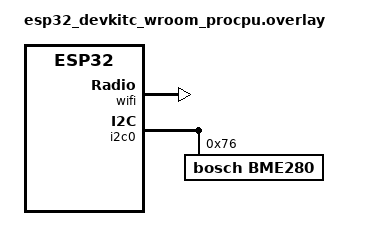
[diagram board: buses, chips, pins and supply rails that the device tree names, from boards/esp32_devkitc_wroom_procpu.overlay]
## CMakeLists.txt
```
# SPDX-License-Identifier: Apache-2.0

cmake_minimum_required(VERSION 3.20.0)

find_package(Zephyr REQUIRED HINTS $ENV{ZEPHYR_BASE})
project(waterlevel_sensing)

FILE(GLOB app_sources src/*.c)
target_sources(app PRIVATE ${app_sources})
```

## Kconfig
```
# Config options for mqtt_publisher sample application

# Copyright (c) 2020 Intel Corporation
# SPDX-License-Identifier: Apache-2.0

mainmenu "Networking mqtt_publisher sample application"

config NET_SAMPLE_APP_MAX_ITERATIONS
	int "Number of times to Publish sample MQTT messages"
	default 500
	help
	  Send sample MQTT messages this many times in a MQTT connection
	  before exiting. A value of zero means that the messages are sent
	  forever.

config NET_SAMPLE_APP_MAX_CONNECTIONS
	int "Number of times to connect to the MQTT server"
	default 0
	help
	  Number of times to connect to the MQTT server. With each connection
	  send NET_SAMPLE_APP_MAX_ITERATIONS amount of MQTT sample messages.
	  A value of zero means to continue forever.

config LOG
	default n

config LOG_PRINTK
	default n

config SENSOR_LOG_LEVEL
	default 4

# Enable SPI and I2C support by default so that the sample works with
# the device connected either way. These defaults can be overridden if
# needed.
config SPI
	default y

config I2C
	default y

source "Kconfig.zephyr"
```

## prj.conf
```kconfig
# Wi-Fi Configuration
CONFIG_WIFI=y

# Network Configuration
CONFIG_NET_CONFIG_AUTO_INIT=n
CONFIG_NET_CONNECTION_MANAGER=y
CONFIG_NET_DHCPV4=y
CONFIG_NET_DHCPV4_SERVER=y
CONFIG_NET_IF_MAX_IPV4_COUNT=2
CONFIG_NET_IF_MAX_IPV6_COUNT=2
CONFIG_NET_IPV4=y
CONFIG_NET_L2_ETHERNET=y
CONFIG_NET_L2_WIFI_MGMT=y
CONFIG_NET_MGMT=y
CONFIG_NET_MGMT_EVENT=y
CONFIG_NET_MGMT_EVENT_INFO=y
CONFIG_NET_MGMT_EVENT_QUEUE_SIZE=10
CONFIG_NET_MGMT_EVENT_STACK_SIZE=4096
CONFIG_NET_PKT_RX_COUNT=16
CONFIG_NET_PKT_TX_COUNT=16
CONFIG_NET_SOCKETS_SERVICE_STACK_SIZE=4096
CONFIG_NET_TCP=y
CONFIG_NET_UDP=y
CONFIG_NETWORKING=y

# LOG Configuration
CONFIG_NET_LOG=y
CONFIG_NET_DHCPV4_SERVER_LOG_LEVEL_DBG=y


CONFIG_NETWORKING=y
CONFIG_NET_SOCKETS=y
CONFIG_NET_TCP=y
CONFIG_NET_LOG=y

# CONFIG_NET_IPV6_RA_RDNSS=y
# CONFIG_NET_IF_UNICAST_IPV6_ADDR_COUNT=3
# CONFIG_NET_IF_MCAST_IPV6_ADDR_COUNT=2

CONFIG_PRINTK=y
CONFIG_STDOUT_CONSOLE=y
CONFIG_POSIX_API=y

# Enable IPv6 support
CONFIG_NET_IPV6=n
# Enable IPv4 support
CONFIG_NET_IPV4=y

# Enable the MQTT Lib
CONFIG_MQTT_LIB=y

CONFIG_NET_CONFIG_SETTINGS=y
# CONFIG_NET_CONFIG_MY_IPV6_ADDR="2001:db8::1"
# CONFIG_NET_CONFIG_PEER_IPV6_ADDR="2003:c4:f4a:a500:28f9:73:76ea:19c8"

#CONFIG_NET_CONFIG_MY_IPV4_ADDR="192.168.178.98"
CONFIG_NET_CONFIG_PEER_IPV4_ADDR="85.215.54.37"
CONFIG_NET_CONFIG_MY_IPV4_GW="192.168.178.1"

CONFIG_NET_ARP=y
CONFIG_NET_UDP=y
CONFIG_NET_DHCPV4=y
CONFIG_NET_DHCPV4_OPTION_CALLBACKS=y
CONFIG_DNS_RESOLVER=y

CONFIG_WIFI_ESP32=y
CONFIG_ESP32_WIFI_STA_AUTO_DHCPV4=y

CONFIG_MAIN_STACK_SIZE=2048

# For IPv6
CONFIG_NET_BUF_DATA_SIZE=256

CONFIG_NET_SHELL=y

CONFIG_WIFI_LOG_LEVEL_ERR=y
CONFIG_NET_L2_WIFI_SHELL=y

CONFIG_NET_STATISTICS=y
CONFIG_ENTROPY_GENERATOR=y
CONFIG_TEST_RANDOM_GENERATOR=y


# BMP SENSOR
CONFIG_SENSOR=y
CONFIG_SENSOR_ASYNC_API=y
```

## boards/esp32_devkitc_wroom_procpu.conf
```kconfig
# CONFIG_SPI=y
# CONFIG_NET_L2_ETHERNET=y
# CONFIG_ETH_W5500=y
# CONFIG_ETH_W5500_TIMEOUT=1000
CONFIG_NET_MGMT=y
CONFIG_NET_L2_ETHERNET_MGMT=y

CONFIG_ADC=y
CONFIG_SENSOR=y
CONFIG_I2C=y
CONFIG_ADC_ADS1X1X=y
```

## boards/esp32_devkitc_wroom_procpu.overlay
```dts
// / {
// 	zephyr,user {
// 		io-channels = <&ads1115 0>;
// 	};
// };

&wifi {
	status = "okay";
};

// &i2c0 {
// 	status = "okay";

// 	ads1115: ads1115@48 {
// 		status = "okay";
// 		compatible = "ti,ads1115";
// 		reg = <0x48>;
// 		label = "ADS1115";
// 		#io-channel-cells = <1>;
// 		#address-cells = <1>;
// 		#size-cells = <0>;
// 		channel@0 {
// 			reg = <0>;
// 			zephyr,gain = "ADC_GAIN_1";
// 			zephyr,reference = "ADC_REF_INTERNAL";
// 			zephyr,acquisition-time = <ADC_ACQ_TIME_DEFAULT>;
// 			zephyr,resolution = <15>;
// 		};
// 	};
// };

// &spi3 {
//     status = "okay";
//     cs-gpios = <&gpio0 5 GPIO_ACTIVE_LOW>;

//     spi_w5500: w5500@0 {
//         compatible = "wiznet,w5500";
//         reg = <0x0>;
//         spi-max-frequency = <10000000>;
//         int-gpios = <&gpio0 4 GPIO_ACTIVE_LOW>;
//         reset-gpios = <&gpio0 15 GPIO_ACTIVE_LOW>;
//         local-mac-address = [54 55 58 10 1a 24];
//     };
// };

&i2c0 {
	bme280: bme280@76 {
		/* 0x76 - SDO <-> GND */
		/* 0x77 - SDO <-> VCC */
		compatible = "bosch,bme280";
		reg = <0x76>;
	};
};
```

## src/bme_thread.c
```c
#include <zephyr/device.h>
#include <zephyr/devicetree.h>
#include <zephyr/drivers/sensor.h>
#include <zephyr/drivers/sensor_data_types.h>
#include <zephyr/rtio/rtio.h>
#include <zephyr/dsp/print_format.h>

#include <zephyr/logging/log.h>
LOG_MODULE_REGISTER(bme_sensor, LOG_LEVEL_DBG);

#include "msgq.h"
#include "mutex.h"

#define MSG_QUEUE_SIZE 10

// Definition der Message Queue
K_MSGQ_DEFINE(temp_msgq, sizeof(q31_t), MSG_QUEUE_SIZE, 4);
K_MSGQ_DEFINE(press_msgq, sizeof(q31_t), MSG_QUEUE_SIZE, 4);
K_MSGQ_DEFINE(humidity_msgq, sizeof(q31_t), MSG_QUEUE_SIZE, 4);

K_MUTEX_DEFINE(temp_mutex);
K_MUTEX_DEFINE(press_mutex);
K_MUTEX_DEFINE(humidity_mutex);

/* size of stack area used by each thread */
#define STACKSIZE 1024

/* scheduling priority used by each thread */
#define PRIORITY 7

/* Thread creation */
static int run_bme();

K_THREAD_DEFINE(bme_thread, STACKSIZE,
		run_bme, NULL, NULL, NULL,
		PRIORITY, 0, 0);

/*
 * Get a device structure from a devicetree node with compatible
 * "bosch,bme280". (If there are multiple, just pick one.)
 */
const struct device *const dev = DEVICE_DT_GET_ANY(bosch_bme280);

SENSOR_DT_READ_IODEV(iodev, DT_COMPAT_GET_ANY_STATUS_OKAY(bosch_bme280),
		{SENSOR_CHAN_AMBIENT_TEMP, 0},
		{SENSOR_CHAN_HUMIDITY, 0},
		{SENSOR_CHAN_PRESS, 0});

RTIO_DEFINE(ctx, 1, 1);

static const struct device *check_bme280_device(void)
{
	if (dev == NULL) {
		/* No such node, or the node does not have status "okay". */
		printk("\nError: no device found.\n");
		return NULL;
	}

	if (!device_is_ready(dev)) {
		printk("\nError: Device \"%s\" is not ready; "
		       "check the driver initialization logs for errors.\n",
		       dev->name);
		return NULL;
	}

	printk("Found device \"%s\", getting sensor data\n", dev->name);
	return dev;
}

static int run_bme() {

	LOG_INF("BME Threads started ");


    const struct device *dev = check_bme280_device();

	if (dev == NULL) {
		return 0;
	}

	while (1) {
		uint8_t buf[128];

		int rc = sensor_read(&iodev, &ctx, buf, 128);

		if (rc != 0) {
			printk("%s: sensor_read() failed: %d\n", dev->name, rc);
			return rc;
		}

		const struct sensor_decoder_api *decoder;

		rc = sensor_get_decoder(dev, &decoder);

		if (rc != 0) {
			printk("%s: sensor_get_decode() failed: %d\n", dev->name, rc);
			return rc;
		}

		uint32_t temp_fit = 0;
		struct sensor_q31_data temp_data = {0};

		decoder->decode(buf,
			(struct sensor_chan_spec) {SENSOR_CHAN_AMBIENT_TEMP, 0},
			&temp_fit, 1, &temp_data);

		uint32_t press_fit = 0;
		struct sensor_q31_data press_data = {0};

		decoder->decode(buf,
				(struct sensor_chan_spec) {SENSOR_CHAN_PRESS, 0},
				&press_fit, 1, &press_data);

		uint32_t hum_fit = 0;
		struct sensor_q31_data hum_data = {0};

		decoder->decode(buf,
				(struct sensor_chan_spec) {SENSOR_CHAN_HUMIDITY, 0},
				&hum_fit, 1, &hum_data);
		
		q31_t temperature = temp_data.readings[0].temperature;
		q31_t pressure = press_data.readings[0].pressure;
		q31_t humidity = hum_data.readings[0].humidity;

        k_msgq_put(&temp_msgq, &temperature, K_NO_WAIT);
        k_msgq_put(&press_msgq, &pressure, K_NO_WAIT);
        k_msgq_put(&humidity_msgq, &humidity, K_NO_WAIT);

		// printk("temp: %s%d.%06d; press: %s%d.%06d; humidity: %s%d.%06d\n",
		// 	PRIq_arg(temperature, 6, temp_data.shift),
		// 	PRIq_arg(pressure, 6, press_data.shift),
		// 	PRIq_arg(humidity, 6, hum_data.shift));

		k_sleep(K_SECONDS(60));
	}
	return 0;
}
```

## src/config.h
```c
/*
 * Copyright (c) 2017 Intel Corporation
 *
 * SPDX-License-Identifier: Apache-2.0
 */

#ifndef __CONFIG_H__
#define __CONFIG_H__

#ifdef CONFIG_NET_CONFIG_SETTINGS
#ifdef CONFIG_NET_IPV6
#define ZEPHYR_ADDR		CONFIG_NET_CONFIG_MY_IPV6_ADDR
#define SERVER_ADDR		CONFIG_NET_CONFIG_PEER_IPV6_ADDR
#else
#define ZEPHYR_ADDR		CONFIG_NET_CONFIG_MY_IPV4_ADDR
#define SERVER_ADDR		CONFIG_NET_CONFIG_PEER_IPV4_ADDR
#endif
#else
#ifdef CONFIG_NET_IPV6
#define ZEPHYR_ADDR		"2001:db8::1"
#define SERVER_ADDR		"2001:db8::2"
#else
#define ZEPHYR_ADDR		"192.168.178.98"
#define SERVER_ADDR		"85.215.54.37"
#endif
#endif

#if defined(CONFIG_SOCKS)
#define SOCKS5_PROXY_ADDR	SERVER_ADDR
#define SOCKS5_PROXY_PORT	1080
#endif

#ifdef CONFIG_MQTT_LIB_WEBSOCKET
#define SERVER_PORT		9001
#else
#define SERVER_PORT		1883
#endif /* CONFIG_MQTT_LIB_WEBSOCKET */

#define APP_CONNECT_TIMEOUT_MS	2000
#define APP_SLEEP_MSECS		500

#define APP_CONNECT_TRIES	10

#define APP_MQTT_BUFFER_SIZE	128

#define MQTT_CLIENTID		"esp32-zephyr"
#define MQTT_USERNAME		"ESP32"
#define MQTT_PASSWORD		"1234qwer"

/* Set the following to 1 to enable the Bluemix topic format */
#define APP_BLUEMIX_TOPIC	1

/* These are the parameters for the Bluemix topic format */
#if APP_BLUEMIX_TOPIC
#define BLUEMIX_DEVTYPE		"esp32"
#define BLUEMIX_DEVID		"002"
#define BLUEMIX_EVENT		"temp"
#define BLUEMIX_FORMAT		"json"
#endif

#endif
```

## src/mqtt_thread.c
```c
/*
 * Copyright (c) 2017 Intel Corporation
 *
 * SPDX-License-Identifier: Apache-2.0
 */

#include <zephyr/logging/log.h>
LOG_MODULE_REGISTER(net_mqtt_publisher, LOG_LEVEL_DBG);

#include <zephyr/kernel.h>
#include <zephyr/net/socket.h>
#include <zephyr/net/mqtt.h>
#include <zephyr/random/random.h>
#include <zephyr/net/wifi_mgmt.h>
#include <zephyr/net/wifi.h>
#include <zephyr/net/dhcpv4_server.h>

#include <zephyr/drivers/sensor_data_types.h>
#include <zephyr/dsp/print_format.h>


#include <string.h>
#include <errno.h>

#include "config.h"
#include "msgq.h" 

/* size of stack area used by each thread */
#define STACKSIZE 2048

/* scheduling priority used by each thread */
#define PRIORITY 7

#define APP_BMEM
#define APP_DMEM

#define MACSTR "%02X:%02X:%02X:%02X:%02X:%02X"
#define NET_EVENT_WIFI_MASK                                                                        \
	(NET_EVENT_WIFI_CONNECT_RESULT | NET_EVENT_WIFI_DISCONNECT_RESULT |                        \
	 NET_EVENT_WIFI_AP_ENABLE_RESULT | NET_EVENT_WIFI_AP_DISABLE_RESULT |                      \
	 NET_EVENT_WIFI_AP_STA_CONNECTED | NET_EVENT_WIFI_AP_STA_DISCONNECTED)

/* STA Mode Configuration */
#define WIFI_SSID "BND observation wagen-3"     /* Replace `SSID` with WiFi ssid. */
#define WIFI_PSK  "47401012966242795724" /* Replace `PASSWORD` with Router password. */

/* Thread creation */
static int run_mqtt();

static struct net_if *sta_iface;

static struct wifi_connect_req_params sta_config;

static struct net_mgmt_event_callback cb;



K_THREAD_DEFINE(mqtt_thread, STACKSIZE, run_mqtt, NULL, NULL, NULL,
		PRIORITY, 0, 0);


/* Buffers for MQTT client. */
static APP_BMEM uint8_t rx_buffer[APP_MQTT_BUFFER_SIZE];
static APP_BMEM uint8_t tx_buffer[APP_MQTT_BUFFER_SIZE];

#if defined(CONFIG_MQTT_LIB_WEBSOCKET)
/* Making RX buffer large enough that the full IPv6 packet can fit into it */
#define MQTT_LIB_WEBSOCKET_RECV_BUF_LEN 1280

/* Websocket needs temporary buffer to store partial packets */
static APP_BMEM uint8_t temp_ws_rx_buf[MQTT_LIB_WEBSOCKET_RECV_BUF_LEN];
#endif

/* The mqtt client struct */
static APP_BMEM struct mqtt_client client_ctx;

/* MQTT Broker details. */
static APP_BMEM struct sockaddr_storage broker;

#if defined(CONFIG_SOCKS)
static APP_BMEM struct sockaddr socks5_proxy;
#endif

static APP_BMEM struct pollfd fds[1];
static APP_BMEM int nfds;

static APP_BMEM bool connected;

static bool wifi_connected;

static void prepare_fds(struct mqtt_client *client)
{
	if (client->transport.type == MQTT_TRANSPORT_NON_SECURE) {
		fds[0].fd = client->transport.tcp.sock;
	}
#if defined(CONFIG_MQTT_LIB_TLS)
	else if (client->transport.type == MQTT_TRANSPORT_SECURE) {
		fds[0].fd = client->transport.tls.sock;
	}
#endif

	fds[0].events = POLLIN;
	nfds = 1;
}

static void clear_fds(void)
{
	nfds = 0;
}

static int wait(int timeout)
{
	int ret = 0;

	if (nfds > 0) {
		ret = poll(fds, nfds, timeout);
		if (ret < 0) {
			LOG_ERR("poll error: %d", errno);
		}
	}

	return ret;
}

static int connect_to_wifi(void)
{
	if (!sta_iface) {
		LOG_INF("STA: interface no initialized");
		return -EIO;
	}

	sta_config.ssid = (const uint8_t *)WIFI_SSID;
	sta_config.ssid_length = strlen(WIFI_SSID);
	sta_config.psk = (const uint8_t *)WIFI_PSK;
	sta_config.psk_length = strlen(WIFI_PSK);
	sta_config.security = WIFI_SECURITY_TYPE_PSK;
	sta_config.channel = WIFI_CHANNEL_ANY;
	sta_config.band = WIFI_FREQ_BAND_2_4_GHZ;

	LOG_INF("Connecting to SSID: %s\n", sta_config.ssid);

	int ret = net_mgmt(NET_REQUEST_WIFI_CONNECT, sta_iface, &sta_config,
			   sizeof(struct wifi_connect_req_params));
	if (ret) {
		LOG_ERR("Unable to Connect to (%s)", WIFI_SSID);
	}

	return ret;
}

static void wifi_event_handler(struct net_mgmt_event_callback *cb, uint32_t mgmt_event,
			       struct net_if *iface)
{
	switch (mgmt_event) {
	case NET_EVENT_WIFI_CONNECT_RESULT: {
		LOG_INF("Connected to %s", WIFI_SSID);
		wifi_connected = true;
		break;
	}
	case NET_EVENT_WIFI_DISCONNECT_RESULT: {
		LOG_INF("Disconnected from %s", WIFI_SSID);
		// if disconnected try new connection 
		wifi_connected = false;

		break;
	}
	case NET_EVENT_WIFI_AP_ENABLE_RESULT: {
		LOG_INF("AP Mode is enabled. Waiting for station to connect");
		break;
	}
	case NET_EVENT_WIFI_AP_DISABLE_RESULT: {
		LOG_INF("AP Mode is disabled.");
		break;
	}
	default:
		break;
	}
}

void mqtt_evt_handler(struct mqtt_client *const client,
		      const struct mqtt_evt *evt)
{
	int err;

	switch (evt->type) {
	case MQTT_EVT_CONNACK:
		if (evt->result != 0) {
			LOG_ERR("MQTT connect failed %d", evt->result);
			break;
		}

		connected = true;
		LOG_INF("MQTT client connected!");

		break;

	case MQTT_EVT_DISCONNECT:
		LOG_INF("MQTT client disconnected %d", evt->result);

		connected = false;
		clear_fds();

		break;

	case MQTT_EVT_PUBACK:
		if (evt->result != 0) {
			LOG_ERR("MQTT PUBACK error %d", evt->result);
			break;
		}

		LOG_INF("PUBACK packet id: %u", evt->param.puback.message_id);

		break;

	case MQTT_EVT_PUBREC:
		if (evt->result != 0) {
			LOG_ERR("MQTT PUBREC error %d", evt->result);
			break;
		}

		LOG_INF("PUBREC packet id: %u", evt->param.pubrec.message_id);

		const struct mqtt_pubrel_param rel_param = {
			.message_id = evt->param.pubrec.message_id
		};

		err = mqtt_publish_qos2_release(client, &rel_param);
		if (err != 0) {
			LOG_ERR("Failed to send MQTT PUBREL: %d", err);
		}

		break;

	case MQTT_EVT_PUBCOMP:
		if (evt->result != 0) {
			LOG_ERR("MQTT PUBCOMP error %d", evt->result);
			break;
		}

		LOG_INF("PUBCOMP packet id: %u",
			evt->param.pubcomp.message_id);

		break;

	case MQTT_EVT_PINGRESP:
		LOG_INF("PINGRESP packet");
		break;

	default:
		break;
	}
}

static char *get_mqtt_payload(enum mqtt_qos qos)
{

    q31_t temperature = 0;
    q31_t pressure = 0;
    q31_t humidity = 0;

#if APP_BLUEMIX_TOPIC
	static APP_BMEM char payload[80];

    k_msgq_get(&temp_msgq, &temperature, K_FOREVER);
    k_msgq_get(&press_msgq, &pressure, K_FOREVER);
    k_msgq_get(&humidity_msgq, &humidity, K_FOREVER);

	printk("temp: %s%d.%06d; press: %s%d.%06d; humidity: %s%d.%06d\n",
		PRIq_arg(temperature, 6, 16),
		PRIq_arg(pressure, 6, 23),
		PRIq_arg(humidity, 6, 21));

	snprintk(payload, sizeof(payload),  
		"{\"temperature\": %s%d.%d,\n \"pressure\": %s%d.%d,\n \"humidity\": %s%d.%d}",
		PRIq_arg(temperature, 6, 16),
		PRIq_arg(pressure, 6, 23),
		PRIq_arg(humidity, 6, 21));
#else
	static APP_DMEM char payload[] = "DOORS:OPEN_QoSx";

	payload[strlen(payload) - 1] = '0' + qos;
#endif

	return payload;
}

static char *get_mqtt_topic(void)
{
#if APP_BLUEMIX_TOPIC
	return "iot/type/"BLUEMIX_DEVTYPE"/id/"BLUEMIX_DEVID
	       "/evt/"BLUEMIX_EVENT"/fmt/"BLUEMIX_FORMAT;
#else
	return "sensors";
#endif
}

static int publish(struct mqtt_client *client, enum mqtt_qos qos)
{
	struct mqtt_publish_param param;

	param.message.topic.qos = qos;
	param.message.topic.topic.utf8 = (uint8_t *)get_mqtt_topic();
	param.message.topic.topic.size =
			strlen(param.message.topic.topic.utf8);
	param.message.payload.data = get_mqtt_payload(qos);
	param.message.payload.len =
			strlen(param.message.payload.data);
	param.message_id = sys_rand16_get();
	param.dup_flag = 0U;
	param.retain_flag = 0U;

	return mqtt_publish(client, &param);
}

#define RC_STR(rc) ((rc) == 0 ? "OK" : "ERROR")

#define PRINT_RESULT(func, rc) \
	LOG_INF("%s: %d <%s>", (func), rc, RC_STR(rc))

static void broker_init(void)
{
#if defined(CONFIG_NET_IPV6)
	struct sockaddr_in6 *broker6 = (struct sockaddr_in6 *)&broker;

	broker6->sin6_family = AF_INET6;
	broker6->sin6_port = htons(SERVER_PORT);
	inet_pton(AF_INET6, SERVER_ADDR, &broker6->sin6_addr);

#if defined(CONFIG_SOCKS)
	struct sockaddr_in6 *proxy6 = (struct sockaddr_in6 *)&socks5_proxy;

	proxy6->sin6_family = AF_INET6;
	proxy6->sin6_port = htons(SOCKS5_PROXY_PORT);
	inet_pton(AF_INET6, SOCKS5_PROXY_ADDR, &proxy6->sin6_addr);
#endif
#else
	struct sockaddr_in *broker4 = (struct sockaddr_in *)&broker;

	broker4->sin_family = AF_INET;
	broker4->sin_port = htons(SERVER_PORT);
	inet_pton(AF_INET, SERVER_ADDR, &broker4->sin_addr);
#if defined(CONFIG_SOCKS)
	struct sockaddr_in *proxy4 = (struct sockaddr_in *)&socks5_proxy;

	proxy4->sin_family = AF_INET;
	proxy4->sin_port = htons(SOCKS5_PROXY_PORT);
	inet_pton(AF_INET, SOCKS5_PROXY_ADDR, &proxy4->sin_addr);
#endif
#endif
}

static void client_init(struct mqtt_client *client)
{
	mqtt_client_init(client);

	broker_init();

    /* MQTT username and password*/
    static struct mqtt_utf8 password;
	static struct mqtt_utf8 user_name;

	password.utf8 = (uint8_t*)MQTT_PASSWORD;
	password.size = strlen(MQTT_PASSWORD);
	user_name.utf8 = (uint8_t*)MQTT_USERNAME;
	user_name.size = strlen(MQTT_USERNAME);

	/* MQTT client configuration */
	client->broker = &broker;
	client->evt_cb = mqtt_evt_handler;
	client->client_id.utf8 = (uint8_t *)MQTT_CLIENTID;
	client->client_id.size = strlen(MQTT_CLIENTID);
	client->password = &password;
	client->user_name = &user_name;
	client->protocol_version = MQTT_VERSION_3_1_1;

	/* MQTT buffers configuration */
	client->rx_buf = rx_buffer;
	client->rx_buf_size = sizeof(rx_buffer);
	client->tx_buf = tx_buffer;
	client->tx_buf_size = sizeof(tx_buffer);

#if defined(CONFIG_MQTT_LIB_WEBSOCKET)
	client->transport.type = MQTT_TRANSPORT_NON_SECURE_WEBSOCKET;
#else
	client->transport.type = MQTT_TRANSPORT_NON_SECURE;
#endif

#if defined(CONFIG_MQTT_LIB_WEBSOCKET)
	client->transport.websocket.config.host = SERVER_ADDR;
	client->transport.websocket.config.url = "/mqtt";
	client->transport.websocket.config.tmp_buf = temp_ws_rx_buf;
	client->transport.websocket.config.tmp_buf_len =
						sizeof(temp_ws_rx_buf);
	client->transport.websocket.timeout = 5 * MSEC_PER_SEC;
#endif

#if defined(CONFIG_SOCKS)
	mqtt_client_set_proxy(client, &socks5_proxy,
			      socks5_proxy.sa_family == AF_INET ?
			      sizeof(struct sockaddr_in) :
			      sizeof(struct sockaddr_in6));
#endif
}

/* In this routine we block until the connected variable is 1 */
static int try_to_connect(struct mqtt_client *client)
{
	int rc, i = 0;

	while (i++ < APP_CONNECT_TRIES && !connected) {

		client_init(client);

		rc = mqtt_connect(client);
		if (rc != 0) {
			PRINT_RESULT("mqtt_connect", rc);
			k_sleep(K_MSEC(APP_SLEEP_MSECS));
			continue;
		}

		prepare_fds(client);

		if (wait(APP_CONNECT_TIMEOUT_MS)) {
			mqtt_input(client);
		}

		if (!connected) {
			mqtt_abort(client);
		}
	}

	if (connected) {
		return 0;
	}

	return -EINVAL;
}

static int process_mqtt_and_sleep(struct mqtt_client *client, int timeout)
{
	int64_t remaining = timeout;
	int64_t start_time = k_uptime_get();
	int rc;

	while (remaining > 0 && connected) {
		if (wait(remaining)) {
			rc = mqtt_input(client);
			if (rc != 0) {
				PRINT_RESULT("mqtt_input", rc);
				return rc;
			}
		}

		rc = mqtt_live(client);
		if (rc != 0 && rc != -EAGAIN) {
			PRINT_RESULT("mqtt_live", rc);
			return rc;
		} else if (rc == 0) {
			rc = mqtt_input(client);
			if (rc != 0) {
				PRINT_RESULT("mqtt_input", rc);
				return rc;
			}
		}

		remaining = timeout + start_time - k_uptime_get();
	}

	return 0;
}

#define SUCCESS_OR_EXIT(rc) { if (rc != 0) { return 1; } }
#define SUCCESS_OR_BREAK(rc) { if (rc != 0) { break; } }

static int publisher(void)
{
	int rc, r = 0;

	LOG_INF("attempting to connect: ");
	rc = try_to_connect(&client_ctx);
	PRINT_RESULT("try_to_connect", rc);
	SUCCESS_OR_EXIT(rc);


	while (connected) {
		r = -1;

		// rc = mqtt_ping(&client_ctx);
		// PRINT_RESULT("mqtt_ping", rc);
		// SUCCESS_OR_BREAK(rc);

		rc = process_mqtt_and_sleep(&client_ctx, APP_SLEEP_MSECS);
		SUCCESS_OR_BREAK(rc);

		rc = publish(&client_ctx, MQTT_QOS_0_AT_MOST_ONCE);
		PRINT_RESULT("mqtt_publish", rc);
		SUCCESS_OR_BREAK(rc);

		// rc = process_mqtt_and_sleep(&client_ctx, APP_SLEEP_MSECS);
		// SUCCESS_OR_BREAK(rc);

		// rc = publish(&client_ctx, MQTT_QOS_1_AT_LEAST_ONCE);
		// PRINT_RESULT("mqtt_publish", rc);
		// SUCCESS_OR_BREAK(rc);

		// rc = process_mqtt_and_sleep(&client_ctx, APP_SLEEP_MSECS);
		// SUCCESS_OR_BREAK(rc);

		// rc = publish(&client_ctx, MQTT_QOS_2_EXACTLY_ONCE);
		// PRINT_RESULT("mqtt_publish", rc);
		// SUCCESS_OR_BREAK(rc);

		// rc = process_mqtt_and_sleep(&client_ctx, APP_SLEEP_MSECS);
		// SUCCESS_OR_BREAK(rc);

		r = 0;
	}

	rc = mqtt_disconnect(&client_ctx);
	PRINT_RESULT("mqtt_disconnect", rc);

	LOG_INF("Bye!");

	return r;
}

static int run_mqtt(void)
{
	int r = 0;

	net_mgmt_init_event_callback(&cb, wifi_event_handler, NET_EVENT_WIFI_MASK);
	net_mgmt_add_event_callback(&cb);

	sta_iface = net_if_get_wifi_sta();

	connect_to_wifi();
	k_sleep(K_SECONDS(15));

	r = publisher();
	k_sleep(K_SECONDS(60));

	return r;
}
```

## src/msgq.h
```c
#ifndef MSGQ_H
#define MSGQ_H

#include <zephyr/kernel.h>

// Deklaration der Message Queue
extern struct k_msgq waterlevel_msgq;

#endif // MSGQ_H
```

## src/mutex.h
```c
#ifndef APP_MUTEX_H
#define APP_MUTEX_H

#include <zephyr/kernel.h>

extern struct k_mutex temp_mutex;
extern struct k_mutex press_mutex;
extern struct k_mutex humidity_mutex;

#endif // MSGQ_H
```

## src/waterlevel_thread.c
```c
#include <zephyr/kernel.h>
#include <zephyr/device.h>
#include <zephyr/devicetree.h>
#include <zephyr/drivers/adc.h>

#include <zephyr/logging/log.h>
LOG_MODULE_REGISTER(bme_sensor, LOG_LEVEL_DBG);

#include <inttypes.h>
#include <stddef.h>
#include <stdint.h>

#include "msgq.h"
#include "mutex.h"

#define MSG_QUEUE_SIZE 10

// Definition der Message Queue
K_MSGQ_DEFINE(waterlevel_msgq, sizeof(int16_t), MSG_QUEUE_SIZE, 4);

K_MUTEX_DEFINE(level_mutex);

/* size of stack area used by each thread */
#define STACKSIZE 1024

/* scheduling priority used by each thread */
#define PRIORITY 7

/* Thread creation */
static int run_waterlevel();

// K_THREAD_DEFINE(bme_thread, STACKSIZE,
// 		run_waterlevel, NULL, NULL, NULL,
// 		PRIORITY, 0, 0);


#if !DT_NODE_EXISTS(DT_PATH(zephyr_user)) || \
	!DT_NODE_HAS_PROP(DT_PATH(zephyr_user), io_channels)
#error "No suitable devicetree overlay specified"
#endif

#define DT_SPEC_AND_COMMA(node_id, prop, idx) \
	ADC_DT_SPEC_GET_BY_IDX(node_id, idx),

/* Data of ADC io-channels specified in devicetree. */
static const struct adc_dt_spec adc_channels[] = {
	DT_FOREACH_PROP_ELEM(DT_PATH(zephyr_user), io_channels,
			    DT_SPEC_AND_COMMA)
};

static int run_waterlevel() {

	LOG_INF("Waterlevel Threads started ");

	int err;
	uint32_t count = 0;
	uint16_t buf;
	struct adc_sequence sequence = {
		.buffer = &buf,
		/* buffer size in bytes, not number of samples */
		.buffer_size = sizeof(buf),
	};

	/* Configure channels individually prior to sampling. */
	for (size_t i = 0U; i < ARRAY_SIZE(adc_channels); i++) {
		if (!adc_is_ready_dt(&adc_channels[i])) {
			LOG_ERR("ADC controller device %s not ready\n", adc_channels[i].dev->name);
			return 0;
		}

		err = adc_channel_setup_dt(&adc_channels[i]);
		if (err < 0) {
			LOG_ERR("Could not setup channel #%d (%d)\n", i, err);
			return 0;
		}
	}

	while (1) {
		LOG_INF("ADC reading[%u]:\n", count++);
		for (size_t i = 0U; i < ARRAY_SIZE(adc_channels); i++) {
			int32_t val_mv;

			LOG_INF("- %s, channel %d: ",
			    adc_channels[i].dev->name,
			    adc_channels[i].channel_id);

			(void)adc_sequence_init_dt(&adc_channels[i], &sequence);

			err = adc_read_dt(&adc_channels[i], &sequence);
			if (err < 0) {
				LOG_ERR("Could not read (%d)\n", err);
				continue;
			}

			/*
			 * If using differential mode, the 16 bit value
			 * in the ADC sample buffer should be a signed 2's
			 * complement value.
			 */
			if (adc_channels[i].channel_cfg.differential) {
				val_mv = (int32_t)((int16_t)buf);
			} else {
				val_mv = (int32_t)buf;
			}
			LOG_INF("%"PRId32, val_mv);
			err = adc_raw_to_millivolts_dt(&adc_channels[i],
						    				&val_mv);
			/* conversion to mV may not be supported, skip if not */
			if (err < 0) {
				LOG_ERR(" (value in mV not available)\n");
			} else {
				LOG_INF(" = %"PRId32" mV\n", val_mv);

				k_msgq_put(&waterlevel_msgq, &val_mv, K_NO_WAIT);
			}
		}

		k_sleep(K_MSEC(10000));
	}
	return 0;
}
```
